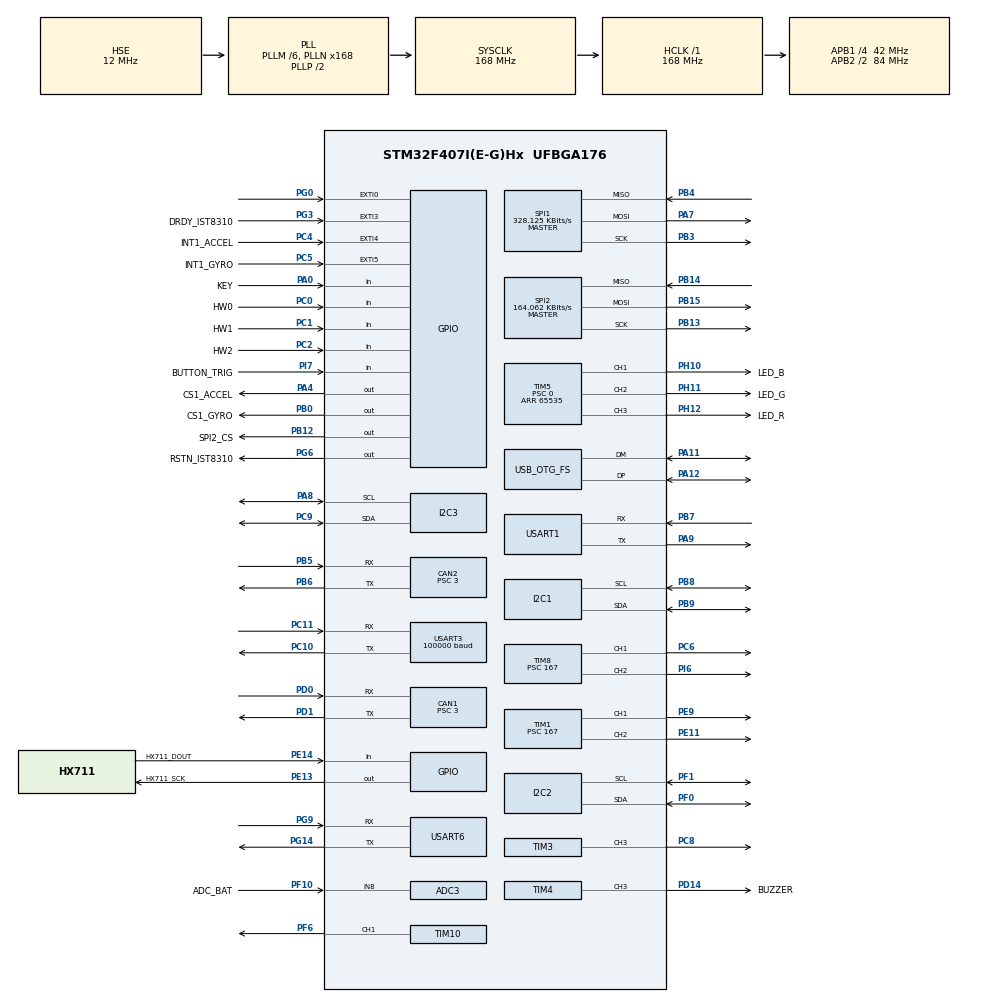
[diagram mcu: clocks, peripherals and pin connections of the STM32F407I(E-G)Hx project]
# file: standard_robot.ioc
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ADC1.Channel-0\#ChannelRegularConversion=ADC_CHANNEL_TEMPSENSOR
ADC1.ClockPrescaler=ADC_CLOCK_SYNC_PCLK_DIV6
ADC1.NbrOfConversionFlag=1
ADC1.Rank-0\#ChannelRegularConversion=1
ADC1.SamplingTime-0\#ChannelRegularConversion=ADC_SAMPLETIME_3CYCLES
ADC1.master=1
ADC3.Channel-0\#ChannelRegularConversion=ADC_CHANNEL_8
ADC3.ClockPrescaler=ADC_CLOCK_SYNC_PCLK_DIV6
ADC3.NbrOfConversionFlag=1
ADC3.Rank-0\#ChannelRegularConversion=1
ADC3.SamplingTime-0\#ChannelRegularConversion=ADC_SAMPLETIME_3CYCLES
CAN1.BS1=CAN_BS1_10TQ
CAN1.BS2=CAN_BS2_3TQ
CAN1.CalculateBaudRate=1000000
CAN1.CalculateTimeQuantum=71.42857142857143
CAN1.Prescaler=3
CAN2.BS1=CAN_BS1_10TQ
CAN2.BS2=CAN_BS2_3TQ
CAN2.CalculateBaudRate=1000000
CAN2.CalculateTimeQuantum=71.42857142857143
CAN2.Prescaler=3
Dma.I2C2_TX.2.Direction=DMA_MEMORY_TO_PERIPH
Dma.I2C2_TX.2.FIFOMode=DMA_FIFOMODE_DISABLE
Dma.I2C2_TX.2.Instance=DMA1_Stream7
Dma.I2C2_TX.2.MemDataAlignment=DMA_MDATAALIGN_BYTE
Dma.I2C2_TX.2.MemInc=DMA_MINC_ENABLE
Dma.I2C2_TX.2.Mode=DMA_NORMAL
Dma.I2C2_TX.2.PeriphDataAlignment=DMA_PDATAALIGN_BYTE
Dma.I2C2_TX.2.PeriphInc=DMA_PINC_DISABLE
Dma.I2C2_TX.2.Priority=DMA_PRIORITY_HIGH
Dma.Request0=SPI1_RX
Dma.Request1=SPI1_TX
Dma.Request2=I2C2_TX
Dma.Request3=USART3_RX
Dma.Request4=USART6_RX
Dma.Request5=USART6_TX
Dma.Request6=USART1_TX
Dma.Request7=USART1_RX
Dma.SPI1_RX.0.Direction=DMA_PERIPH_TO_MEMORY
Dma.SPI1_RX.0.FIFOMode=DMA_FIFOMODE_DISABLE
Dma.SPI1_RX.0.Instance=DMA2_Stream2
Dma.SPI1_RX.0.MemDataAlignment=DMA_MDATAALIGN_BYTE
Dma.SPI1_RX.0.MemInc=DMA_MINC_ENABLE
Dma.SPI1_RX.0.Mode=DMA_NORMAL
Dma.SPI1_RX.0.PeriphDataAlignment=DMA_PDATAALIGN_BYTE
Dma.SPI1_RX.0.PeriphInc=DMA_PINC_DISABLE
Dma.SPI1_RX.0.Priority=DMA_PRIORITY_VERY_HIGH
Dma.SPI1_TX.1.Direction=DMA_MEMORY_TO_PERIPH
Dma.SPI1_TX.1.FIFOMode=DMA_FIFOMODE_DISABLE
Dma.SPI1_TX.1.Instance=DMA2_Stream3
Dma.SPI1_TX.1.MemDataAlignment=DMA_MDATAALIGN_BYTE
Dma.SPI1_TX.1.MemInc=DMA_MINC_ENABLE
Dma.SPI1_TX.1.Mode=DMA_NORMAL
Dma.SPI1_TX.1.PeriphDataAlignment=DMA_PDATAALIGN_BYTE
Dma.SPI1_TX.1.PeriphInc=DMA_PINC_DISABLE
Dma.SPI1_TX.1.Priority=DMA_PRIORITY_HIGH
Dma.USART1_RX.7.Direction=DMA_PERIPH_TO_MEMORY
Dma.USART1_RX.7.FIFOMode=DMA_FIFOMODE_DISABLE
Dma.USART1_RX.7.Instance=DMA2_Stream5
Dma.USART1_RX.7.MemDataAlignment=DMA_MDATAALIGN_BYTE
Dma.USART1_RX.7.MemInc=DMA_MINC_ENABLE
Dma.USART1_RX.7.Mode=DMA_NORMAL
Dma.USART1_RX.7.PeriphDataAlignment=DMA_PDATAALIGN_BYTE
Dma.USART1_RX.7.PeriphInc=DMA_PINC_DISABLE
Dma.USART1_RX.7.Priority=DMA_PRIORITY_HIGH
Dma.USART1_TX.6.Direction=DMA_MEMORY_TO_PERIPH
Dma.USART1_TX.6.FIFOMode=DMA_FIFOMODE_DISABLE
Dma.USART1_TX.6.Instance=DMA2_Stream7
Dma.USART1_TX.6.MemDataAlignment=DMA_MDATAALIGN_BYTE
Dma.USART1_TX.6.MemInc=DMA_MINC_ENABLE
Dma.USART1_TX.6.Mode=DMA_NORMAL
Dma.USART1_TX.6.PeriphDataAlignment=DMA_PDATAALIGN_BYTE
Dma.USART1_TX.6.PeriphInc=DMA_PINC_DISABLE
Dma.USART1_TX.6.Priority=DMA_PRIORITY_MEDIUM
Dma.USART3_RX.3.Direction=DMA_PERIPH_TO_MEMORY
Dma.USART3_RX.3.FIFOMode=DMA_FIFOMODE_DISABLE
Dma.USART3_RX.3.Instance=DMA1_Stream1
Dma.USART3_RX.3.MemDataAlignment=DMA_MDATAALIGN_BYTE
Dma.USART3_RX.3.MemInc=DMA_MINC_ENABLE
Dma.USART3_RX.3.Mode=DMA_NORMAL
Dma.USART3_RX.3.PeriphDataAlignment=DMA_PDATAALIGN_BYTE
Dma.USART3_RX.3.PeriphInc=DMA_PINC_DISABLE
Dma.USART3_RX.3.Priority=DMA_PRIORITY_HIGH
Dma.USART6_RX.4.Direction=DMA_PERIPH_TO_MEMORY
Dma.USART6_RX.4.FIFOMode=DMA_FIFOMODE_DISABLE
Dma.USART6_RX.4.Instance=DMA2_Stream1
Dma.USART6_RX.4.MemDataAlignment=DMA_MDATAALIGN_BYTE
Dma.USART6_RX.4.MemInc=DMA_MINC_ENABLE
Dma.USART6_RX.4.Mode=DMA_NORMAL
Dma.USART6_RX.4.PeriphDataAlignment=DMA_PDATAALIGN_BYTE
Dma.USART6_RX.4.PeriphInc=DMA_PINC_DISABLE
Dma.USART6_RX.4.Priority=DMA_PRIORITY_HIGH
Dma.USART6_TX.5.Direction=DMA_MEMORY_TO_PERIPH
Dma.USART6_TX.5.FIFOMode=DMA_FIFOMODE_DISABLE
Dma.USART6_TX.5.Instance=DMA2_Stream6
Dma.USART6_TX.5.MemDataAlignment=DMA_MDATAALIGN_BYTE
Dma.USART6_TX.5.MemInc=DMA_MINC_ENABLE
Dma.USART6_TX.5.Mode=DMA_NORMAL
Dma.USART6_TX.5.PeriphDataAlignment=DMA_PDATAALIGN_BYTE
Dma.USART6_TX.5.PeriphInc=DMA_PINC_DISABLE
Dma.USART6_TX.5.Priority=DMA_PRIORITY_MEDIUM
FREERTOS.INCLUDE_eTaskGetState=1
FREERTOS.INCLUDE_pcTaskGetTaskName=1
FREERTOS.INCLUDE_uxTaskGetStackHighWaterMark=1
FREERTOS.INCLUDE_vTaskCleanUpResources=1
FREERTOS.INCLUDE_vTaskDelayUntil=1
FREERTOS.INCLUDE_xEventGroupSetBitFromISR=1
FREERTOS.INCLUDE_xQueueGetMutexHolder=1
FREERTOS.INCLUDE_xSemaphoreGetMutexHolder=1
FREERTOS.INCLUDE_xTaskAbortDelay=1
FREERTOS.INCLUDE_xTaskGetCurrentTaskHandle=1
FREERTOS.INCLUDE_xTaskGetHandle=1
FREERTOS.INCLUDE_xTimerPendFunctionCall=1
FREERTOS.Tasks01=test,24,128,test_task,As weak,NULL,Dynamic,NULL,NULL
FREERTOS.configTOTAL_HEAP_SIZE=24576
I2C1.I2C_Mode=I2C_Fast
I2C2.I2C_Mode=I2C_Fast
I2C3.I2C_Mode=I2C_Fast
Mcu.Family=STM32F4
Mcu.Name=STM32F407I(E-G)Hx
Mcu.Package=UFBGA176
NVIC.CAN1_RX0_IRQn=true\:6\:0\:true\:false\:true\:true\:true\:true\:true
NVIC.CAN2_RX0_IRQn=true\:6\:0\:true\:false\:true\:true\:true\:true\:true
NVIC.DMA1_Stream1_IRQn=true\:5\:0\:true\:false\:false\:true\:false\:false\:true
NVIC.DMA1_Stream7_IRQn=true\:5\:0\:true\:false\:false\:true\:false\:true\:true
NVIC.DMA2_Stream1_IRQn=true\:5\:0\:true\:false\:true\:true\:false\:true\:true
NVIC.DMA2_Stream2_IRQn=true\:5\:0\:true\:false\:false\:true\:false\:true\:true
NVIC.DMA2_Stream3_IRQn=true\:5\:0\:true\:false\:false\:true\:false\:true\:true
NVIC.DMA2_Stream5_IRQn=true\:5\:0\:false\:false\:true\:true\:false\:true\:true
NVIC.DMA2_Stream6_IRQn=true\:5\:0\:true\:false\:true\:true\:false\:true\:true
NVIC.DMA2_Stream7_IRQn=true\:5\:0\:true\:false\:true\:true\:false\:true\:true
NVIC.EXTI0_IRQn=true\:6\:0\:true\:false\:true\:true\:true\:true\:true
NVIC.EXTI3_IRQn=true\:5\:0\:true\:false\:true\:true\:true\:true\:true
NVIC.EXTI4_IRQn=true\:5\:0\:true\:false\:true\:true\:true\:true\:true
NVIC.EXTI9_5_IRQn=true\:5\:0\:true\:false\:true\:true\:true\:true\:true
NVIC.OTG_FS_IRQn=true\:5\:0\:false\:false\:true\:true\:false\:true\:true
NVIC.PriorityGroup=NVIC_PRIORITYGROUP_4
NVIC.USART1_IRQn=true\:5\:0\:false\:false\:true\:true\:true\:true\:true
NVIC.USART3_IRQn=true\:4\:0\:true\:false\:false\:false\:true\:true\:true
NVIC.USART6_IRQn=true\:5\:0\:true\:false\:false\:true\:true\:true\:true
PA0-WKUP.GPIO_Label=KEY
PA0-WKUP.GPIO_PuPd=GPIO_PULLUP
PA0-WKUP.Signal=GPIO_Input
PA11.Mode=Device_Only
PA11.Signal=USB_OTG_FS_DM
PA12.Mode=Device_Only
PA12.Signal=USB_OTG_FS_DP
PA13.Mode=Serial_Wire
PA13.Signal=SYS_JTMS-SWDIO
PA14.Mode=Serial_Wire
PA14.Signal=SYS_JTCK-SWCLK
PA4.GPIO_Label=CS1_ACCEL
PA4.GPIO_PuPd=GPIO_PULLUP
PA4.GPIO_Speed=GPIO_SPEED_FREQ_HIGH
PA4.PinState=GPIO_PIN_SET
PA4.Signal=GPIO_Output
PA7.GPIO_PuPd=GPIO_PULLUP
PA7.Mode=Full_Duplex_Master
PA7.Signal=SPI1_MOSI
PA8.GPIO_Pu=GPIO_PULLUP
PA8.Mode=I2C
PA8.Signal=I2C3_SCL
PA9.Mode=Asynchronous
PA9.Signal=USART1_TX
PB0.GPIO_Label=CS1_GYRO
PB0.GPIO_PuPd=GPIO_PULLUP
PB0.GPIO_Speed=GPIO_SPEED_FREQ_HIGH
PB0.PinState=GPIO_PIN_SET
PB0.Signal=GPIO_Output
PB12.GPIO_Label=SPI2_CS
PB12.GPIO_PuPd=GPIO_PULLUP
PB12.GPIO_Speed=GPIO_SPEED_FREQ_MEDIUM
PB12.PinState=GPIO_PIN_SET
PB12.Signal=GPIO_Output
PB13.GPIO_PuPd=GPIO_PULLUP
PB13.Mode=Full_Duplex_Master
PB13.Signal=SPI2_SCK
PB14.GPIO_PuPd=GPIO_PULLUP
PB14.Mode=Full_Duplex_Master
PB14.Signal=SPI2_MISO
PB15.GPIO_PuPd=GPIO_PULLUP
PB15.Mode=Full_Duplex_Master
PB15.Signal=SPI2_MOSI
PB3.GPIO_PuPd=GPIO_PULLUP
PB3.Mode=Full_Duplex_Master
PB3.Signal=SPI1_SCK
PB4.GPIO_PuPd=GPIO_PULLUP
PB4.Mode=Full_Duplex_Master
PB4.Signal=SPI1_MISO
PB5.Mode=CAN_Activate
PB5.Signal=CAN2_RX
PB6.Mode=CAN_Activate
PB6.Signal=CAN2_TX
PB7.Mode=Asynchronous
PB7.Signal=USART1_RX
PB8.GPIO_Pu=GPIO_PULLUP
PB8.Mode=I2C
PB8.Signal=I2C1_SCL
PB9.GPIO_Pu=GPIO_PULLUP
PB9.Mode=I2C
PB9.Signal=I2C1_SDA
PC0.GPIO_Label=HW0
PC0.Signal=GPIO_Input
PC1.GPIO_Label=HW1
PC1.Signal=GPIO_Input
PC10.Mode=Asynchronous
PC10.Signal=USART3_TX
PC11.Mode=Asynchronous
PC11.Signal=USART3_RX
PC2.GPIO_Label=HW2
PC2.Signal=GPIO_Input
PC4.GPIO_Label=INT1_ACCEL
PC4.GPIO_ModeDefaultEXTI=GPIO_MODE_IT_FALLING
PC4.GPIO_PuPd=GPIO_PULLUP
PC4.Signal=GPXTI4
PC5.GPIO_Label=INT1_GYRO
PC5.GPIO_ModeDefaultEXTI=GPIO_MODE_IT_FALLING
PC5.GPIO_PuPd=GPIO_PULLUP
PC5.Signal=GPXTI5
PC6.GPIO_PuPd=GPIO_PULLUP
PC6.GPIO_Speed=GPIO_SPEED_FREQ_HIGH
PC6.Signal=S_TIM8_CH1
PC8.GPIO_PuPd=GPIO_PULLUP
PC8.GPIO_Speed=GPIO_SPEED_FREQ_HIGH
PC8.Signal=S_TIM3_CH3
PC9.GPIO_Pu=GPIO_PULLUP
PC9.Mode=I2C
PC9.Signal=I2C3_SDA
PD0.Mode=CAN_Activate
PD0.Signal=CAN1_RX
PD1.Mode=CAN_Activate
PD1.Signal=CAN1_TX
PD14.GPIO_Label=BUZZER
PD14.GPIO_PuPd=GPIO_PULLUP
PD14.GPIO_Speed=GPIO_SPEED_FREQ_VERY_HIGH
PD14.Signal=S_TIM4_CH3
PE11.GPIO_PuPd=GPIO_PULLUP
PE11.GPIO_Speed=GPIO_SPEED_FREQ_HIGH
PE11.Signal=S_TIM1_CH2
PE13.GPIO_Label=HX711_SCK
PE13.GPIO_ModeDefaultOutputPP=GPIO_MODE_OUTPUT_PP
PE13.GPIO_Speed=GPIO_SPEED_FREQ_LOW
PE13.PinState=GPIO_PIN_RESET
PE13.Signal=GPIO_Output
PE14.GPIO_Label=HX711_DOUT
PE14.GPIO_PuPd=GPIO_PULLUP
PE14.Signal=GPIO_Input
PE9.GPIO_PuPd=GPIO_PULLUP
PE9.GPIO_Speed=GPIO_SPEED_FREQ_HIGH
PE9.Signal=S_TIM1_CH1
PF0.GPIO_Pu=GPIO_PULLUP
PF0.Mode=I2C
PF0.Signal=I2C2_SDA
PF1.GPIO_Pu=GPIO_PULLUP
PF1.Mode=I2C
PF1.Signal=I2C2_SCL
PF10.GPIO_Label=ADC_BAT
PF10.Mode=IN8
PF10.Signal=ADC3_IN8
PF6.GPIO_PuPd=GPIO_PULLUP
PF6.GPIO_Speed=GPIO_SPEED_FREQ_HIGH
PF6.Signal=S_TIM10_CH1
PG0.GPIO_ModeDefaultEXTI=GPIO_MODE_IT_FALLING
PG0.GPIO_PuPd=GPIO_PULLUP
PG0.Signal=GPXTI0
PG14.Mode=Asynchronous
PG14.Signal=USART6_TX
PG3.GPIO_Label=DRDY_IST8310
PG3.GPIO_ModeDefaultEXTI=GPIO_MODE_IT_FALLING
PG3.GPIO_PuPd=GPIO_PULLUP
PG3.Signal=GPXTI3
PG6.GPIO_Label=RSTN_IST8310
PG6.GPIO_PuPd=GPIO_PULLUP
PG6.GPIO_Speed=GPIO_SPEED_FREQ_MEDIUM
PG6.PinState=GPIO_PIN_SET
PG6.Signal=GPIO_Output
PG9.Mode=Asynchronous
PG9.Signal=USART6_RX
PH0-OSC_IN.Mode=HSE-External-Oscillator
PH0-OSC_IN.Signal=RCC_OSC_IN
PH1-OSC_OUT.Mode=HSE-External-Oscillator
PH1-OSC_OUT.Signal=RCC_OSC_OUT
PH10.GPIO_Label=LED_B
PH10.GPIO_PuPd=GPIO_PULLUP
PH10.GPIO_Speed=GPIO_SPEED_FREQ_HIGH
PH10.Signal=S_TIM5_CH1
PH11.GPIO_Label=LED_G
PH11.GPIO_PuPd=GPIO_PULLUP
PH11.GPIO_Speed=GPIO_SPEED_FREQ_HIGH
PH11.Signal=S_TIM5_CH2
PH12.GPIO_Label=LED_R
PH12.GPIO_PuPd=GPIO_PULLUP
PH12.GPIO_Speed=GPIO_SPEED_FREQ_HIGH
PH12.Signal=S_TIM5_CH3
PI6.GPIO_PuPd=GPIO_PULLUP
PI6.GPIO_Speed=GPIO_SPEED_FREQ_HIGH
PI6.Signal=S_TIM8_CH2
PI7.GPIO_Label=BUTTON_TRIG
PI7.GPIO_PuPd=GPIO_PULLUP
PI7.Signal=GPIO_Input
ProjectManager.HeapSize=0x2000
ProjectManager.StackSize=0x2000
ProjectManager.TargetToolchain=MDK-ARM V5.32
RCC.48MHZClocksFreq_Value=48000000
RCC.AHBFreq_Value=168000000
RCC.APB1CLKDivider=RCC_HCLK_DIV4
RCC.APB1Freq_Value=42000000
RCC.APB1TimFreq_Value=84000000
RCC.APB2CLKDivider=RCC_HCLK_DIV2
RCC.APB2Freq_Value=84000000
RCC.APB2TimFreq_Value=168000000
RCC.CortexFreq_Value=168000000
RCC.HCLKFreq_Value=168000000
RCC.HSE_VALUE=12000000
RCC.HSI_VALUE=16000000
RCC.LSE_VALUE=32768
RCC.PLLM=6
RCC.PLLN=168
RCC.PLLQ=7
RCC.RCC_RTC_Clock_SourceVirtual=RCC_RTCCLKSOURCE_HSE_DIV30
RCC.RCC_RTC_Clock_Source_FROM_HSE=RCC_RTCCLKSOURCE_HSE_DIV30
RCC.SYSCLKFreq_VALUE=168000000
RCC.SYSCLKSource=RCC_SYSCLKSOURCE_PLLCLK
RCC.VCOOutputFreq_Value=336000000
RTC.AsynchPrediv=124
RTC.SynchPrediv=3199
SH.S_TIM10_CH1.0=TIM10_CH1,PWM Generation1 CH1
SH.S_TIM1_CH1.0=TIM1_CH1,PWM Generation1 CH1
SH.S_TIM1_CH2.0=TIM1_CH2,PWM Generation2 CH2
SH.S_TIM3_CH3.0=TIM3_CH3,PWM Generation3 CH3
SH.S_TIM4_CH3.0=TIM4_CH3,PWM Generation3 CH3
SH.S_TIM5_CH1.0=TIM5_CH1,PWM Generation1 CH1
SH.S_TIM5_CH2.0=TIM5_CH2,PWM Generation2 CH2
SH.S_TIM5_CH3.0=TIM5_CH3,PWM Generation3 CH3
SH.S_TIM8_CH1.0=TIM8_CH1,PWM Generation1 CH1
SH.S_TIM8_CH2.0=TIM8_CH2,PWM Generation2 CH2
SPI1.BaudRatePrescaler=SPI_BAUDRATEPRESCALER_256
SPI1.CLKPhase=SPI_PHASE_2EDGE
SPI1.CLKPolarity=SPI_POLARITY_HIGH
SPI1.CalculateBaudRate=328.125 KBits/s
SPI1.Direction=SPI_DIRECTION_2LINES
SPI1.Mode=SPI_MODE_MASTER
SPI1.VirtualType=VM_MASTER
SPI2.BaudRatePrescaler=SPI_BAUDRATEPRESCALER_256
SPI2.CLKPhase=SPI_PHASE_2EDGE
SPI2.CLKPolarity=SPI_POLARITY_HIGH
SPI2.CalculateBaudRate=164.062 KBits/s
SPI2.Direction=SPI_DIRECTION_2LINES
SPI2.Mode=SPI_MODE_MASTER
SPI2.VirtualType=VM_MASTER
TIM1.Channel-PWM\ Generation1\ CH1=TIM_CHANNEL_1
TIM1.Channel-PWM\ Generation2\ CH2=TIM_CHANNEL_2
TIM1.Period=19999
TIM1.Prescaler=167
TIM1.Pulse-PWM\ Generation1\ CH1=1000
TIM1.Pulse-PWM\ Generation2\ CH2=1000
TIM10.Channel=TIM_CHANNEL_1
TIM10.Period=4999
TIM3.Channel-PWM\ Generation3\ CH3=TIM_CHANNEL_3
TIM3.Period=8399
TIM4.Channel-PWM\ Generation3\ CH3=TIM_CHANNEL_3
TIM4.Period=65535
TIM4.Prescaler=167
TIM5.Channel-PWM\ Generation1\ CH1=TIM_CHANNEL_1
TIM5.Channel-PWM\ Generation2\ CH2=TIM_CHANNEL_2
TIM5.Channel-PWM\ Generation3\ CH3=TIM_CHANNEL_3
TIM5.Period=65535
TIM5.Prescaler=0
TIM8.Channel-PWM\ Generation1\ CH1=TIM_CHANNEL_1
TIM8.Channel-PWM\ Generation2\ CH2=TIM_CHANNEL_2
TIM8.Period=19999
TIM8.Prescaler=167
TIM8.Pulse-PWM\ Generation1\ CH1=1000
TIM8.Pulse-PWM\ Generation2\ CH2=1000
USART1.VirtualMode=VM_ASYNC
USART3.BaudRate=100000
USART3.Parity=PARITY_EVEN
USART3.VirtualMode=VM_ASYNC
USART6.VirtualMode=VM_ASYNC
USB_DEVICE.CLASS_NAME_FS=CDC
USB_DEVICE.VirtualMode-CDC_FS=Cdc
USB_DEVICE.VirtualModeFS=Cdc_FS
USB_OTG_FS.VirtualMode=Device_Only
VP_ADC1_TempSens_Input.Mode=IN-TempSens
VP_ADC1_Vref_Input.Mode=IN-Vrefint
VP_CRC_VS_CRC.Mode=CRC_Activate
VP_FREERTOS_VS_CMSIS_V1.Mode=CMSIS_V1
VP_RNG_VS_RNG.Mode=RNG_Activate
VP_RTC_VS_RTC_Activate.Mode=RTC_Enabled
VP_TIM10_VS_ClockSourceINT.Mode=Enable_Timer
VP_TIM1_VS_ClockSourceINT.Mode=Internal
VP_TIM3_VS_ClockSourceINT.Mode=Internal
VP_TIM4_VS_ClockSourceINT.Mode=Internal
VP_TIM5_VS_ClockSourceINT.Mode=Internal
VP_TIM8_VS_ClockSourceINT.Mode=Internal
VP_USB_DEVICE_VS_USB_DEVICE_CDC_FS.Mode=CDC_FS
board=custom

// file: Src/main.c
/* USER CODE BEGIN Header */
/**
 ******************************************************************************
 * @file           : main.c
 * @brief          : Main program body
 ******************************************************************************
 * @attention
 *
 * <h2><center>&copy; Copyright (c) 2019 STMicroelectronics.
 * All rights reserved.</center></h2>
 *
 * This software component is licensed by ST under Ultimate Liberty license
 * SLA0044, the "License"; You may not use this file except in compliance with
 * the License. You may obtain a copy of the License at:
 *                             www.st.com/SLA0044
 *
 ******************************************************************************
 */
/* USER CODE END Header */

#include "main.h"
#include "cmsis_os.h"
#include "adc.h"
#include "can.h"
#include "crc.h"
#include "dma.h"
#include "i2c.h"
#include "rng.h"
#include "rtc.h"
#include "spi.h"
#include "tim.h"
#include "usart.h"
#include "usb_device.h"
#include "gpio.h"

/* USER CODE BEGIN Includes */
#include "bsp_can.h"
#include "bsp_delay.h"
#include "bsp_usart.h"
#include "remote_control.h"
#include "bsp_servo_pwm.h"
#include "detect_task.h"
#include "INS_task.h"
#include "led_flow_task.h"
#include "referee_usart_task.h"
#include "stm32.h"
#include "stm32_private.h"
#include "BMI088driver.h"
#include "bsp_dwt.h"
#define  extern PHOTOLECTRIC_DOOR_PIN HAL_GPIO_ReadPin(BUTTON_TRIG_GPIO_Port, BUTTON_TRIG_Pin) // 光电门IO

/* USER CODE END Includes */

/* USER CODE BEGIN PV */

uint8_t arxbuffer[24];

/* USER CODE END PV */

void SystemClock_Config(void);
void MX_FREERTOS_Init(void);

int main(void)
	{

  /* MCU Configuration--------------------------------------------------------*/

  /* Reset of all peripherals, Initializes the Flash interface and the Systick. */
  HAL_Init();

  /* Configure the system clock */
  SystemClock_Config();

  /* Initialize all configured peripherals */
  MX_GPIO_Init();
  MX_DMA_Init();
  MX_ADC1_Init();
  MX_ADC3_Init();
  MX_CAN1_Init();
  MX_CAN2_Init();
  MX_I2C1_Init();
  MX_SPI1_Init();
  MX_TIM4_Init();
  MX_TIM5_Init();
  MX_USART3_UART_Init();
  MX_TIM8_Init();
  MX_CRC_Init();
  MX_RNG_Init();
  MX_I2C2_Init();
  MX_I2C3_Init();
  MX_RTC_Init();
  MX_SPI2_Init();
  MX_TIM1_Init();
  MX_TIM3_Init();
  MX_TIM10_Init();
  MX_USART1_UART_Init();
  MX_USART6_UART_Init();
	HAL_TIM_Base_Start(&htim8);
	HAL_TIM_PWM_Start(&htim8,TIM_CHANNEL_1);
  /* USER CODE BEGIN 2 */
    can_filter_init();
    delay_init();
    remote_control_init();
    DWT_Init(168);
    while (BMI088_init(&hspi1, 0) != BMI088_NO_ERROR)
    {
        ;
    }
  /* USER CODE END 2 */

  /* Call init function for freertos objects (in freertos.c) */
  MX_FREERTOS_Init();

  /* Start scheduler */
  osKernelStart();

  /* We should never get here as control is now taken by the scheduler */

  /* Infinite loop */
    while (1)
    {

    }
}

void SystemClock_Config(void)
{
  RCC_OscInitTypeDef RCC_OscInitStruct = {0};
  RCC_ClkInitTypeDef RCC_ClkInitStruct = {0};
  RCC_PeriphCLKInitTypeDef PeriphClkInitStruct = {0};

  /** Configure the main internal regulator output voltage
  */
  __HAL_RCC_PWR_CLK_ENABLE();
  __HAL_PWR_VOLTAGESCALING_CONFIG(PWR_REGULATOR_VOLTAGE_SCALE1);
  /** Initializes the CPU, AHB and APB busses clocks
  */
  RCC_OscInitStruct.OscillatorType = RCC_OSCILLATORTYPE_HSE;
  RCC_OscInitStruct.HSEState = RCC_HSE_ON;
  RCC_OscInitStruct.PLL.PLLState = RCC_PLL_ON;
  RCC_OscInitStruct.PLL.PLLSource = RCC_PLLSOURCE_HSE;
  RCC_OscInitStruct.PLL.PLLM = 6;
  RCC_OscInitStruct.PLL.PLLN = 168;
  RCC_OscInitStruct.PLL.PLLP = RCC_PLLP_DIV2;
  RCC_OscInitStruct.PLL.PLLQ = 7;
  if (HAL_RCC_OscConfig(&RCC_OscInitStruct) != HAL_OK)
  {
    Error_Handler();
  }
  /** Initializes the CPU, AHB and APB busses clocks
  */
  RCC_ClkInitStruct.ClockType = RCC_CLOCKTYPE_HCLK|RCC_CLOCKTYPE_SYSCLK
                              |RCC_CLOCKTYPE_PCLK1|RCC_CLOCKTYPE_PCLK2;
  RCC_ClkInitStruct.SYSCLKSource = RCC_SYSCLKSOURCE_PLLCLK;
  RCC_ClkInitStruct.AHBCLKDivider = RCC_SYSCLK_DIV1;
  RCC_ClkInitStruct.APB1CLKDivider = RCC_HCLK_DIV4;
  RCC_ClkInitStruct.APB2CLKDivider = RCC_HCLK_DIV2;

  if (HAL_RCC_ClockConfig(&RCC_ClkInitStruct, FLASH_LATENCY_5) != HAL_OK)
  {
    Error_Handler();
  }
  PeriphClkInitStruct.PeriphClockSelection = RCC_PERIPHCLK_RTC;
  PeriphClkInitStruct.RTCClockSelection = RCC_RTCCLKSOURCE_HSE_DIV30;
  if (HAL_RCCEx_PeriphCLKConfig(&PeriphClkInitStruct) != HAL_OK)
  {
    Error_Handler();
  }
}

void Error_Handler(void)
{
}

/************************ (C) COPYRIGHT STMicroelectronics *****END OF FILE****/

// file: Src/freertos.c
/* USER CODE BEGIN Header */
/**
 ******************************************************************************
 * File Name          : freertos.c
 * Description        : Code for freertos applications
 ******************************************************************************
 * @attention
 *
 * <h2><center>&copy; Copyright (c) 2019 STMicroelectronics.
 * All rights reserved.</center></h2>
 *
 * This software component is licensed by ST under Ultimate Liberty license
 * SLA0044, the "License"; You may not use this file except in compliance with
 * the License. You may obtain a copy of the License at:
 *                             www.st.com/SLA0044
 *
 ******************************************************************************
 */
/* USER CODE END Header */

#include "FreeRTOS.h"
#include "task.h"
#include "main.h"
#include "cmsis_os.h"

/* USER CODE BEGIN Includes */
#include "detect_task.h"
#include "INS_task.h"
#include "led_flow_task.h"
#include "referee_usart_task.h"
#include "shoot_task.h"
/* USER CODE END Includes */

/* USER CODE BEGIN PTD */
osThreadId detect_handle;
osThreadId led_RGB_flow_handle;
osThreadId referee_usart_task_handle;
osThreadId shoot_task_handle;
osThreadId INSTaskHandle;
/* USER CODE END PTD */

osThreadId testHandle;

/* USER CODE BEGIN FunctionPrototypes */

void StartINSTask(void const *argument);
/* USER CODE END FunctionPrototypes */

void test_task(void const * argument);

extern void MX_USB_DEVICE_Init(void);
void MX_FREERTOS_Init(void); /* (MISRA C 2004 rule 8.1) */

/* GetIdleTaskMemory prototype (linked to static allocation support) */
void vApplicationGetIdleTaskMemory( StaticTask_t **ppxIdleTaskTCBBuffer, StackType_t **ppxIdleTaskStackBuffer, uint32_t *pulIdleTaskStackSize );

/* GetTimerTaskMemory prototype (linked to static allocation support) */
void vApplicationGetTimerTaskMemory( StaticTask_t **ppxTimerTaskTCBBuffer, StackType_t **ppxTimerTaskStackBuffer, uint32_t *pulTimerTaskStackSize );

/* USER CODE BEGIN GET_IDLE_TASK_MEMORY */
static StaticTask_t xIdleTaskTCBBuffer;
static StackType_t xIdleStack[configMINIMAL_STACK_SIZE];

void vApplicationGetIdleTaskMemory(StaticTask_t **ppxIdleTaskTCBBuffer, StackType_t **ppxIdleTaskStackBuffer, uint32_t *pulIdleTaskStackSize)
{
    *ppxIdleTaskTCBBuffer = &xIdleTaskTCBBuffer;
    *ppxIdleTaskStackBuffer = &xIdleStack[0];
    *pulIdleTaskStackSize = configMINIMAL_STACK_SIZE;
    /* place for user code */
}
/* USER CODE END GET_IDLE_TASK_MEMORY */

/* USER CODE BEGIN GET_TIMER_TASK_MEMORY */
static StaticTask_t xTimerTaskTCBBuffer;
static StackType_t xTimerStack[configTIMER_TASK_STACK_DEPTH];

void vApplicationGetTimerTaskMemory(StaticTask_t **ppxTimerTaskTCBBuffer, StackType_t **ppxTimerTaskStackBuffer, uint32_t *pulTimerTaskStackSize)
{
    *ppxTimerTaskTCBBuffer = &xTimerTaskTCBBuffer;
    *ppxTimerTaskStackBuffer = &xTimerStack[0];
    *pulTimerTaskStackSize = configTIMER_TASK_STACK_DEPTH;
    /* place for user code */
}
/* USER CODE END GET_TIMER_TASK_MEMORY */

void MX_FREERTOS_Init(void) {

  /* Create the thread(s) */
  /* definition and creation of test */
  osThreadDef(test, test_task, osPriorityNormal, 0, 128);
  testHandle = osThreadCreate(osThread(test), NULL);

  /* USER CODE BEGIN RTOS_THREADS */
    /* add threads, ... */
    osThreadDef(DETECT, detect_task, osPriorityNormal, 0, 256);
    detect_handle = osThreadCreate(osThread(DETECT), NULL);

    osThreadDef(INSTask, StartINSTask, osPriorityNormal, 0, 1024);
    INSTaskHandle = osThreadCreate(osThread(INSTask), NULL);

    osThreadDef(led, led_RGB_flow_task, osPriorityNormal, 0, 256);
    led_RGB_flow_handle = osThreadCreate(osThread(led), NULL);

    osThreadDef(REFEREE, referee_usart_task, osPriorityNormal, 0, 128);
    referee_usart_task_handle = osThreadCreate(osThread(REFEREE), NULL);

    osThreadDef(SHOOT, shoot_task, osPriorityNormal, 0, 512);
    shoot_task_handle = osThreadCreate(osThread(SHOOT), NULL);

  /* USER CODE END RTOS_THREADS */

}

__weak void test_task(void const * argument)
{
  /* init code for USB_DEVICE */
  MX_USB_DEVICE_Init();
    for (;;)
    {
        osDelay(1);
    }
}

/* USER CODE BEGIN Application */

void StartINSTask(void const *argument)
{
    /* USER CODE BEGIN StartINSTask */
    INS_Init();
    /* Infinite loop */
    for (;;)
    {
        INS_Task();
        osDelay(1);
    }
    /* USER CODE END StartINSTask */
}
/* USER CODE END Application */
